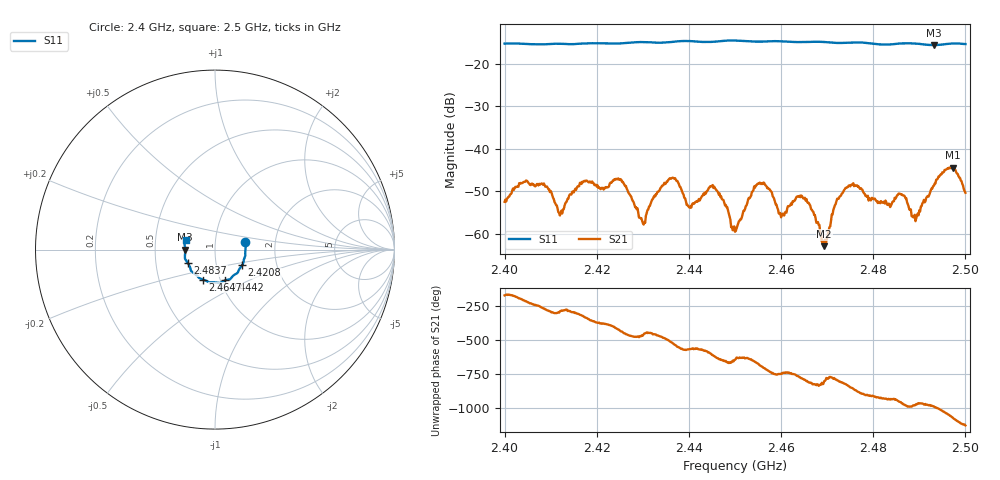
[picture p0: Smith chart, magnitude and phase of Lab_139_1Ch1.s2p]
# Hz S RI R 50
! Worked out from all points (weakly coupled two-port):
!   601 points, 2.4 GHz to 2.5 GHz, reference 50 ohm
!   highest |S21| = -44.38 dB at 2.4973 GHz (marker M1); lowest = -62.9 dB at 2.4693 GHz (marker M2)
!   lowest |S11| = -15.6 dB at 2.4932 GHz (marker M3), VSWR 1.40, Z = 35.8 - j0.0816 ohm
!   |S11| at or under -10 dB: start of sweep to end of sweep
!   S12 and S22 are empty: the file has one direction only
!   S11 on the Smith chart (normalised r, x): 2.4 GHz: 1.40, +0.12; 2.4208 GHz: 1.33, -0.24; 2.4442 GHz: 1.05, -0.37; 2.4647 GHz: 0.83, -0.29; 2.4837 GHz: 0.73, -0.11; 2.5 GHz: 0.72, +0.08
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2.4e9  0.1678 0.041  -0.00238 -0.000219  0 0  0 0
2.408167e9  0.1682 -0.0179  -0.000298 0.00388  0 0  0 0
2.412167e9  0.1672 -0.0396  0.000591 0.00167  0 0  0 0
2.416667e9  0.1588 -0.0681  0.00301 0.00244  0 0  0 0
2.420833e9  0.1508 -0.0874  0.00314 -0.0012  0 0  0 0
2.425167e9  0.1353 -0.1091  0.00102 -0.0043  0 0  0 0
2.43e9  0.1246 -0.1303  -0.000419 -0.00128  0 0  0 0
2.433333e9  0.1079 -0.1403  -0.00105 -0.00297  0 0  0 0
2.444167e9  0.0567 -0.1712  -0.00204 0.00263  0 0  0 0
2.45e9  0.0244 -0.1863  0.000296 0.00102  0 0  0 0
2.455e9  -0.00701 -0.1822  0.00274 0.00279  0 0  0 0
2.460167e9  -0.0362 -0.1801  0.00147 -0.000797  0 0  0 0
2.464667e9  -0.0672 -0.1669  0.00114 -0.00245  0 0  0 0
2.466667e9  -0.08 -0.1627  -0.000243 -0.00192  0 0  0 0
2.469333e9  -0.0908 -0.156  7.87e-05 -0.000715  0 0  0 0
2.474333e9  -0.1177 -0.1319  -0.00129 -0.00331  0 0  0 0
2.483333e9  -0.1505 -0.0762  -0.00193 0.0012  0 0  0 0
2.483667e9  -0.1522 -0.0733  -0.00166 0.00124  0 0  0 0
2.489e9  -0.1678 -0.0432  -0.000302 0.00165  0 0  0 0
2.493167e9  -0.1658 -0.00111  -0.000217 0.0037  0 0  0 0
2.497333e9  -0.1703 0.0347  0.00599 0.000781  0 0  0 0
2.5e9  -0.1624 0.0528  0.0021 -0.00222  0 0  0 0
